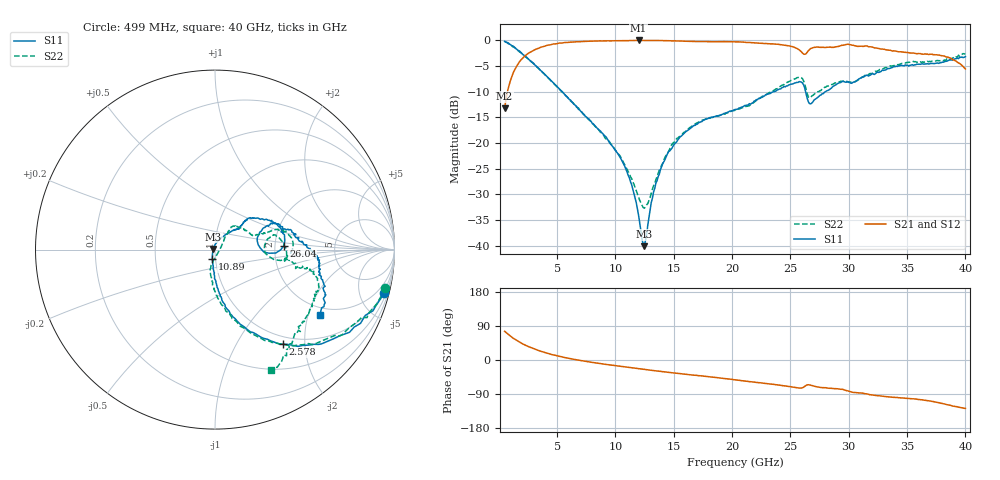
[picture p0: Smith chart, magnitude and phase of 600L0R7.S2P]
!  American Technical Ceramics  Date:  4/29/2005
!  One Norden Lane
!  Huntington Station,  NY.  11746-2102
!  Tel:  (631) 622-4700  Fax:  (631) 622-4748
!  Part Number  600L0R7  Mounting Orientation:  Horizontal
!  Description: Ultra Low ESR Microwave capacitors
!  Application: Coupling, Bypass, Tuning, DC Block
!  Filters, Matching
# GHZ S DB R 50
! Freq  |S11|  S11 Ph  |S21|  S21 Ph  |S12|  S12 Ph  |S22|  S22 Ph
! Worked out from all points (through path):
!   400 points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, 499 MHz to 40 GHz, reference 50 ohm
!   highest |S21| = -0.05 dB at 11.98 GHz (marker M1); lowest = -13.3 dB at 499 MHz (marker M2)
!   group delay of S21, straight-line fit = 11 ps
!   lowest |S11| = -40.1 dB at 12.48 GHz (marker M3), VSWR 1.02, Z = 49.1 + j0.344 ohm
!   |S11| at or under -10 dB: 5.426 GHz to 23.6 GHz (18.17 GHz wide, 125 % of centre); 26.3 GHz to 28.01 GHz (1.714 GHz wide, 6.31 % of centre)
!   |S22| runs from -32.7 to -0.3 dB; largest |S21 - S12| = 0.012
!   S11 on the Smith chart (normalised r, x): 499 MHz: 0.84, -7.84; 2.578 GHz: 0.87, -1.59; 10.89 GHz: 0.97, -0.10; 26.04 GHz: 2.23, +0.10; 40 GHz: 1.71, -2.40
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0.499  -0.23 -14.4  -13.26 75.8  -13.26 76.1  -0.27 -12.9
1.291  -1.25 -32.7  -6.05 56.5  -6.09 55.6  -1.38 -33.8
2.578  -3.75 -54.2  -2.48 34.9  -2.54 35.1  -3.78 -54.4
4.558  -8.01 -74.0  -0.82 14.2  -0.82 14.3  -8.06 -76.1
7.132  -14.01 -87.3  -0.26 -1.8  -0.32 -1.9  -14.08 -94.0
10.894  -25.08 -105.5  -0.09 -18.6  -0.08 -18.5  -24.72 -97.6
11.983  -34.05 -131.4  -0.05 -22.9  -0.06 -22.9  -30.53 -66.9
12.478  -40.06 159.3  -0.05 -24.8  -0.06 -24.9  -32.68 -27.9
13.072  -31.55 90.9  -0.06 -27.1  -0.06 -27.1  -29.76 17.0
13.666  -26.49 73.3  -0.06 -29.3  -0.07 -29.4  -25.86 37.3
14.557  -21.64 59.8  -0.10 -32.7  -0.11 -32.6  -21.65 49.9
16.042  -17.77 49.9  -0.20 -37.8  -0.21 -37.6  -17.66 53.7
20.299  -13.47 43.4  -0.32 -52.5  -0.33 -52.2  -13.58 27.0
24.457  -8.97 27.2  -0.93 -68.2  -0.96 -67.9  -8.60 17.0
26.041  -8.34 3.0  -2.51 -73.1  -2.44 -72.5  -7.51 -2.9
26.536  -11.97 2.1  -2.06 -65.3  -2.03 -65.5  -11.07 -3.9
26.833  -12.23 15.6  -1.55 -67.0  -1.52 -67.5  -10.86 8.1
27.922  -10.11 24.5  -1.40 -73.2  -1.35 -73.3  -9.17 13.4
29.902  -8.08 14.5  -0.77 -81.3  -0.79 -81.2  -8.05 -6.5
33.466  -5.52 0.5  -1.94 -97.5  -1.96 -97.3  -5.13 -12.9
37.228  -4.52 -10.5  -2.82 -109.3  -2.74 -108.6  -4.07 -30.1
40  -3.20 -32.0  -5.59 -127.9  -5.63 -127.8  -2.62 -65.2
